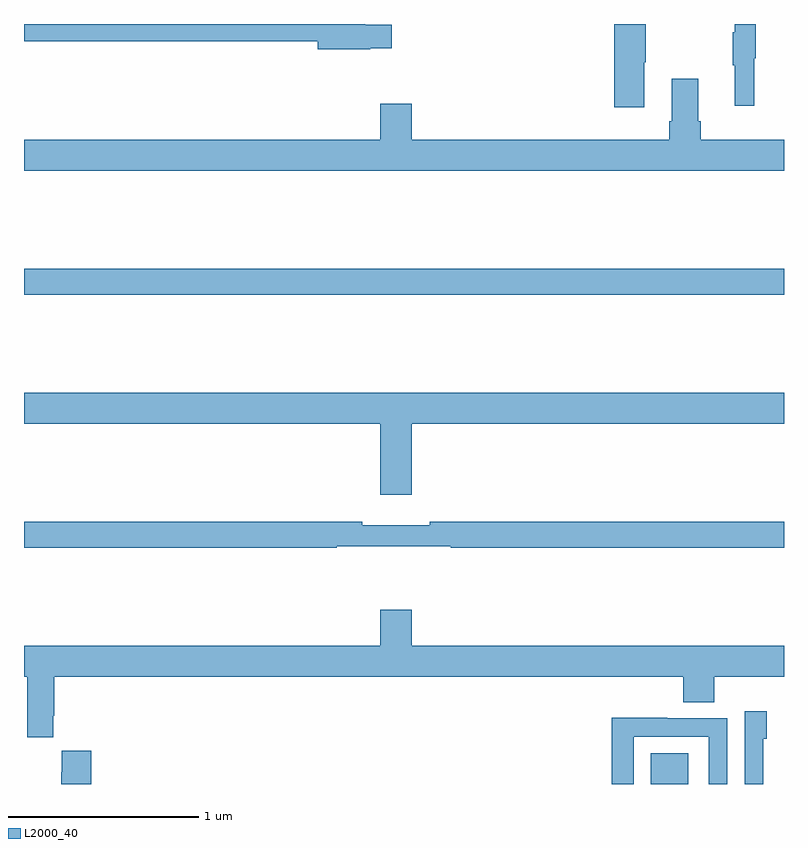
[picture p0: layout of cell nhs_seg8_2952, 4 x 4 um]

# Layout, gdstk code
import gdstk
lib = gdstk.Library(unit=1e-6, precision=1e-09)
def R(c, l, rs):  # rectangles x0, y0, x1, y1
    for r in rs: c.add(gdstk.rectangle(r[:2], r[2:], *l))
def P(c, l, *ps):  # polygons
    for p in ps: c.add(gdstk.Polygon(p, *l))
L2000_40 = (2000, 40)

nhs_seg8_2952 = lib.new_cell('nhs_seg8_2952')
R(nhs_seg8_2952, L2000_40, [(298.298,1151.9,298.495,1152.061), (295,1154.476,299,1154.612)])
P(nhs_seg8_2952, L2000_40, [(296.822,1155.773),(296.935,1155.773),(296.935,1155.895),(296.796,1155.895),(296.796,1155.9),(295,1155.9),(295,1155.808),(296.546,1155.808),(296.546,1155.766),(296.822,1155.766)],
  [(298.844,1155.72),(298.852,1155.72),(298.852,1155.9),(298.742,1155.9),(298.742,1155.857),(298.731,1155.857),(298.731,1155.683),(298.742,1155.683),(298.742,1155.471),(298.844,1155.471)],
  [(298.264,1155.7),(298.272,1155.7),(298.272,1155.9),(298.106,1155.9),(298.106,1155.462),(298.264,1155.462)],
  [(296.876,1155.481),(296.876,1155.292),(295,1155.292),(295,1155.128),(299,1155.128),(299,1155.292),(298.562,1155.292),(298.562,1155.388),(298.549,1155.388),(298.549,1155.613),(298.409,1155.613),(298.409,1155.388),(298.397,1155.388),(298.397,1155.292),(297.04,1155.292),(297.04,1155.481)],
  [(297.04,1153.796),(299,1153.796),(299,1153.96),(295,1153.96),(295,1153.796),(296.876,1153.796),(296.876,1153.422),(297.04,1153.422)],
  [(296.645,1153.152),(297.245,1153.152),(297.245,1153.144),(299,1153.144),(299,1153.28),(297.136,1153.28),(297.136,1153.261),(296.78,1153.261),(296.78,1153.28),(295,1153.28),(295,1153.144),(296.645,1153.144)],
  [(295.153,1152.259),(295.16,1152.259),(295.16,1152.464),(298.469,1152.464),(298.469,1152.331),(298.634,1152.331),(298.634,1152.464),(299,1152.464),(299,1152.628),(297.04,1152.628),(297.04,1152.817),(296.876,1152.817),(296.876,1152.628),(295,1152.628),(295,1152.464),(295.016,1152.464),(295.016,1152.147),(295.153,1152.147)],
  [(298.89,1152.138),(298.909,1152.138),(298.909,1152.283),(298.794,1152.283),(298.794,1151.9),(298.89,1151.9)],
  [(298.209,1152.15),(298.605,1152.15),(298.605,1151.9),(298.701,1151.9),(298.701,1152.246),(298.385,1152.246),(298.385,1152.248),(298.093,1152.248),(298.093,1151.9),(298.209,1151.9)],
  [(295.355,1152.076),(295.199,1152.076),(295.199,1151.963),(295.195,1151.963),(295.195,1151.9),(295.355,1151.9)])

lib.write_gds('nhs_seg8_2952.gds')
